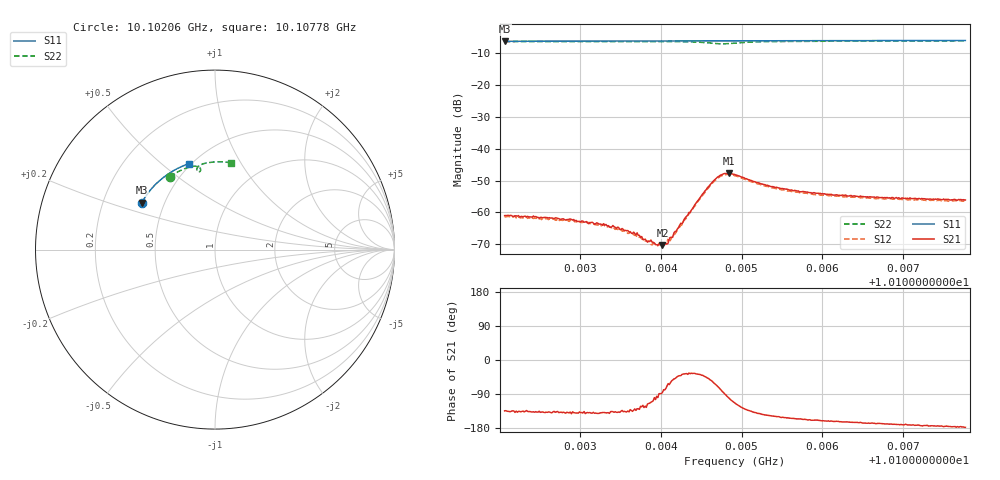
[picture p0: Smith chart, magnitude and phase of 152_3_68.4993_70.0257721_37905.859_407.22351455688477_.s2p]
#  HZ  S  RI  R  50.00
! Rohde & Schwarz Vector Network Analyzer
! Rohde-Schwarz,ZNB20-2Port,1311601062101988,3.16
! Created: UTC 3/20/2024, 4:55:20 PM
! freq[Hz]  re:S11  im:S11  re:S21  im:S21  re:S12  im:S12  re:S22  im:S22
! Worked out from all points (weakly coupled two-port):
!   401 points, 10.10206 GHz to 10.10778 GHz, reference 50 ohm
!   highest |S21| = -47.75 dB at 10.10485 GHz (marker M1); lowest = -70.3 dB at 10.10402 GHz (marker M2)
!   lowest |S11| = -6.3 dB at 10.10206 GHz (marker M3), VSWR 2.89, Z = 18.6 + j12.7 ohm
!   |S11| at or under -10 dB: nowhere
!   |S22| runs from -7.1 to -6.2 dB; largest |S21 - S12| = 0.00043
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1.0102058e10  -0.4089 0.2615  -0.000618 -0.000637  -0.000564 -0.000637  -0.2516 0.4062
1.0102702e10  -0.3882 0.2947  -0.000593 -0.00056  -0.000508 -0.000555  -0.2156 0.4284
1.0103016e10  -0.3771 0.3104  -0.000546 -0.000487  -0.000487 -0.000488  -0.1973 0.4382
1.0103431e10  -0.3615 0.3301  -0.000423 -0.000402  -0.000364 -0.000399  -0.1716 0.4496
1.0103645e10  -0.353 0.34  -0.000332 -0.000327  -0.000275 -0.000376  -0.1575 0.4549
1.0103731e10  -0.3495 0.3441  -0.000282 -0.000331  -0.000234 -0.000332  -0.1517 0.457
1.0103803e10  -0.3466 0.3473  -0.0002 -0.000324  -0.000154 -0.000319  -0.1468 0.4586
1.0103888e10  -0.3431 0.3511  -0.000115 -0.00032  -9.64e-05 -0.000294  -0.1407 0.4603
1.0103974e10  -0.3395 0.3547  4.15e-06 -0.000309  6.08e-06 -0.000327  -0.1343 0.462
1.0104017e10  -0.3376 0.3566  2.16e-05 -0.000306  7.76e-05 -0.000284  -0.1311 0.4625
1.010406e10  -0.336 0.3586  8.63e-05 -0.000317  0.000122 -0.00029  -0.1277 0.4632
1.0104103e10  -0.3339 0.3606  0.000166 -0.000356  0.000184 -0.000293  -0.1242 0.4638
1.0104132e10  -0.3328 0.3616  0.00023 -0.000329  0.000261 -0.000311  -0.122 0.4641
1.0104475e10  -0.3178 0.376  0.00129 -0.00101  0.00131 -0.000881  -0.0906 0.4603
1.0104646e10  -0.3099 0.383  0.00161 -0.00263  0.00177 -0.00237  -0.0798 0.4442
1.0104747e10  -0.3055 0.3868  0.000703 -0.0038  0.00104 -0.00359  -0.0861 0.434
1.0104847e10  -0.3009 0.3907  -0.000774 -0.00402  -0.000414 -0.00393  -0.0976 0.4364
1.0104918e10  -0.2976 0.3934  -0.0016 -0.00357  -0.00123 -0.00355  -0.101 0.444
1.010539e10  -0.2751 0.4112  -0.00215 -0.00133  -0.00195 -0.00145  -0.0728 0.4753
1.0105876e10  -0.251 0.4278  -0.00185 -0.000717  -0.00172 -0.000877  -0.0378 0.4844
1.0106834e10  -0.2003 0.456  -0.00167 -0.000312  -0.00156 -0.000465  0.0264 0.4891
1.0107778e10  -0.1474 0.4778  -0.00156 -6.34e-05  -0.00149 -0.000238  0.0875 0.4844
